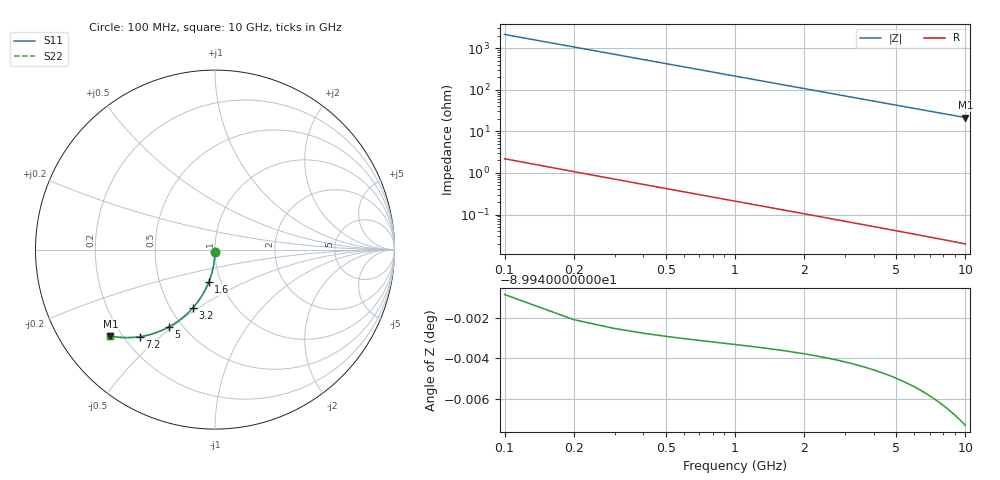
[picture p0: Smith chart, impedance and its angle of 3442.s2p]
# Hz S RI R 50.00
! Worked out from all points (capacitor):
!   100 points, 100 MHz to 10 GHz, reference 50 ohm
!   read as one part in shunt: C = 750 fF near 100 MHz
!   lowest |Z| = 21.4 ohm at 10 GHz (marker M1)
!   S11 on the Smith chart (normalised r, x): 100 MHz: 1.00, -0.02; 1.6 GHz: 0.88, -0.33; 3.2 GHz: 0.64, -0.48; 5 GHz: 0.42, -0.49; 7.2 GHz: 0.26, -0.43; 10 GHz: 0.16, -0.35
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1e8  -8.29e-05 -0.0117  0.9998 -0.0119  0.9998 -0.0119  -8.29e-05 -0.0117
2e8  -0.00051 -0.0233  0.9994 -0.0238  0.9994 -0.0238  -0.00051 -0.0233
3e8  -0.00121 -0.035  0.9986 -0.0356  0.9986 -0.0356  -0.00121 -0.035
4e8  -0.00219 -0.0466  0.9977 -0.0475  0.9977 -0.0475  -0.00219 -0.0466
5e8  -0.00345 -0.0582  0.9964 -0.0592  0.9964 -0.0592  -0.00345 -0.0582
6e8  -0.00497 -0.0697  0.9949 -0.071  0.9949 -0.071  -0.00497 -0.0697
7e8  -0.00677 -0.0811  0.9931 -0.0827  0.9931 -0.0827  -0.00677 -0.0811
9e8  -0.0111 -0.1039  0.9887 -0.1058  0.9887 -0.1058  -0.0111 -0.1039
1.2e9  -0.0197 -0.1373  0.9802 -0.1399  0.9802 -0.1399  -0.0197 -0.1373
1.6e9  -0.0344 -0.1802  0.9654 -0.1837  0.9654 -0.1837  -0.0344 -0.1802
1.8e9  -0.0432 -0.2009  0.9567 -0.2048  0.9567 -0.2048  -0.0432 -0.2009
2.4e9  -0.0742 -0.2591  0.9256 -0.2643  0.9256 -0.2643  -0.0742 -0.2591
2.8e9  -0.0983 -0.2943  0.9015 -0.3004  0.9015 -0.3004  -0.0983 -0.2943
3.2e9  -0.1247 -0.3265  0.8751 -0.3334  0.8751 -0.3334  -0.1247 -0.3265
3.4e9  -0.1385 -0.3413  0.8613 -0.3487  0.8613 -0.3487  -0.1385 -0.3413
4.2e9  -0.197 -0.3928  0.8028 -0.4019  0.8028 -0.4019  -0.197 -0.3928
5e9  -0.2581 -0.4317  0.7417 -0.4426  0.7417 -0.4426  -0.2581 -0.4317
5.1e9  -0.2657 -0.4357  0.7341 -0.4468  0.7341 -0.4468  -0.2657 -0.4357
6.7e9  -0.3846 -0.4787  0.6151 -0.4934  0.6151 -0.4934  -0.3846 -0.4787
7.2e9  -0.4193 -0.4851  0.5804 -0.5008  0.5804 -0.5008  -0.4193 -0.4851
8.4e9  -0.4959 -0.4903  0.5037 -0.5087  0.5037 -0.5087  -0.4959 -0.4903
1e10  -0.5828 -0.4815  0.4168 -0.5036  0.4168 -0.5036  -0.5828 -0.4815
